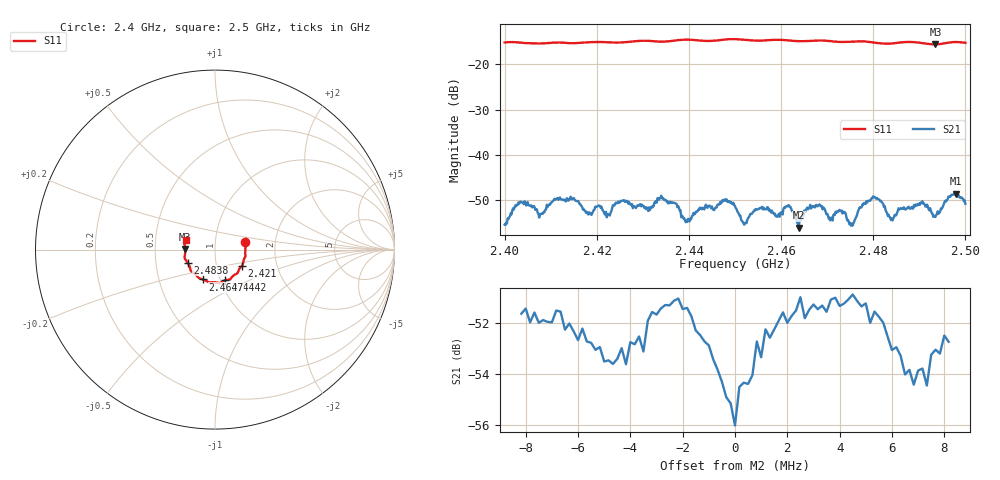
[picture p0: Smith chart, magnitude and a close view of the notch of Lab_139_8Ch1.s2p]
# Hz S RI R 50
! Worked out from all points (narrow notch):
!   601 points, 2.4 GHz to 2.5 GHz, reference 50 ohm
!   highest |S21| = -48.51 dB at 2.498 GHz (marker M1); lowest = -56.0 dB at 2.4638 GHz (marker M2)
!   notch at M2: 4.5 dB deep, 1.38 MHz wide at half that depth
!   lowest |S11| = -15.6 dB at 2.4935 GHz (marker M3), VSWR 1.40, Z = 35.8 + j0.205 ohm
!   |S11| at or under -10 dB: start of sweep to end of sweep
!   S12 and S22 are empty: the file has one direction only
!   S11 on the Smith chart (normalised r, x): 2.4 GHz: 1.40, +0.12; 2.421 GHz: 1.33, -0.24; 2.4442 GHz: 1.05, -0.37; 2.4647 GHz: 0.83, -0.29; 2.4838 GHz: 0.73, -0.11; 2.5 GHz: 0.71, +0.08
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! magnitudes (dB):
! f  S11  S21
! 2.4 GHz  -15.2  -55.4
! 2.4035 GHz  -15.3  -50.3
! 2.4078 GHz  -15.5  -53.1
! 2.4167 GHz  -15.3  -51.3
! 2.421 GHz  -15.1  -51.4
! 2.4333 GHz  -15.0  -49.5
! 2.4397 GHz  -14.6  -54.8
! 2.4442 GHz  -14.9  -51.4
! 2.45 GHz  -14.5  -51.3
! 2.452 GHz  -14.6  -55.4
! 2.4615 GHz  -14.8  -51.1
! 2.4638 GHz  -14.9  -56.0
! 2.4647 GHz  -14.9  -52.7
! 2.4667 GHz  -14.8  -51.5
! 2.4753 GHz  -15.0  -55.1
! 2.4803 GHz  -15.3  -49.3
! 2.4833 GHz  -15.5  -53.2
! 2.4838 GHz  -15.5  -54.3
! 2.4905 GHz  -15.3  -50.6
! 2.4935 GHz  -15.6  -53.7
! 2.498 GHz  -15.1  -48.5
! 2.5 GHz  -15.3  -50.8
